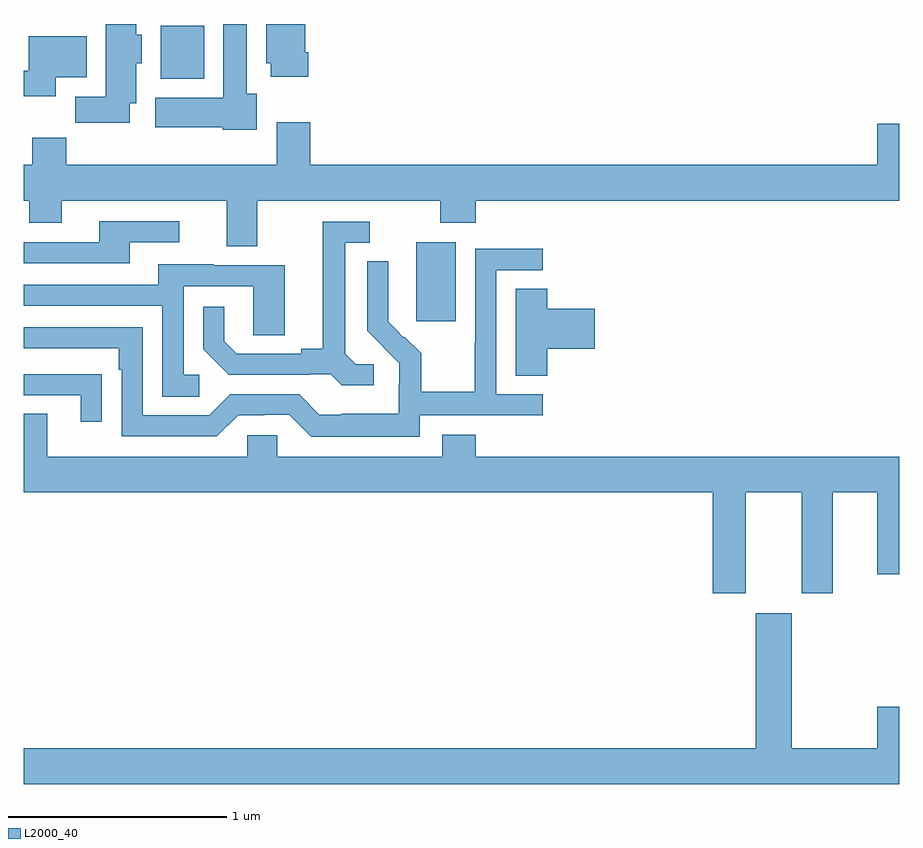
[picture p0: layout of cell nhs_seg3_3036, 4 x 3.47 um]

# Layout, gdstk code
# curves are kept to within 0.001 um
import gdstk
lib = gdstk.Library(unit=1e-6, precision=1e-09)
def R(c, l, rs):  # rectangles x0, y0, x1, y1
    for r in rs: c.add(gdstk.rectangle(r[:2], r[2:], *l))
def P(c, l, *ps):  # polygons
    for p in ps: c.add(gdstk.Polygon(p, *l))
L2000_40 = (2000, 40)

nhs_seg3_3036 = lib.new_cell('nhs_seg3_3036')
R(nhs_seg3_3036, L2000_40, [(270.794,691.041,270.973,691.402), (269.627,692.15,269.824,692.392)])
P(nhs_seg3_3036, L2000_40, [(269.485,692.039),(269.515,692.039),(269.515,692.22),(269.539,692.22),(269.539,692.352),(269.515,692.352),(269.515,692.4),(269.375,692.4),(269.375,692.068),(269.236,692.068),(269.236,691.95),(269.485,691.95)],
  [(270.299,692.272),(270.286,692.272),(270.286,692.4),(270.107,692.4),(270.107,692.22),(270.128,692.22),(270.128,692.16),(270.299,692.16)],
  [(270.064,692.082),(270.019,692.082),(270.019,692.4),(269.912,692.4),(269.912,692.062),(269.6,692.062),(269.6,691.928),(269.91,691.928),(269.91,691.916),(270.064,691.916)],
  [(269.146,692.156),(269.287,692.156),(269.287,692.344),(269.024,692.344),(269.024,692.186),(269,692.186),(269,692.069),(269.146,692.069)],
  [(270.067,691.592),(270.904,691.592),(270.904,691.493),(271.064,691.493),(271.064,691.592),(273,691.592),(273,691.945),(272.9,691.945),(272.9,691.756),(270.308,691.756),(270.308,691.951),(270.155,691.951),(270.155,691.756),(269.195,691.756),(269.195,691.88),(269.039,691.88),(269.039,691.756),(269,691.756),(269,691.592),(269.026,691.592),(269.026,691.493),(269.173,691.493),(269.173,691.592),(269.927,691.592),(269.927,691.384),(270.067,691.384)],
  [(269.485,691.404),(269.71,691.404),(269.71,691.5),(269.345,691.5),(269.345,691.404),(269,691.404),(269,691.308),(269.485,691.308)],
  [(270.598,690.846),(270.516,690.846),(270.469,690.893),(270.469,691.401),(270.58,691.401),(270.58,691.497),(270.365,691.497),(270.365,690.917),(270.269,690.917),(270.269,690.894),(269.974,690.894),(269.917,690.951),(269.917,691.108),(269.82,691.108),(269.82,690.914),(269.936,690.798),(270.308,690.798),(270.308,690.801),(270.402,690.801),(270.454,690.749),(270.598,690.749)],
  [(270.81,690.612),(271.372,690.612),(271.372,690.708),(271.158,690.708),(271.158,691.275),(271.372,691.275),(271.372,691.374),(271.062,691.374),(271.062,690.944),(271.06,690.944),(271.06,690.721),(270.815,690.721),(270.815,690.895),(270.738,690.972),(270.735,690.969),(270.665,691.04),(270.666,691.316),(270.57,691.316),(270.57,690.998),(270.716,690.85),(270.716,690.753),(270.714,690.753),(270.714,690.619),(270.451,690.619),(270.451,690.615),(270.351,690.615),(270.258,690.708),(269.943,690.708),(269.847,690.612),(269.544,690.612),(269.544,691.014),(269,691.014),(269,690.918),(269.435,690.918),(269.435,690.821),(269.448,690.821),(269.448,690.516),(269.883,690.516),(269.979,690.612),(270.098,690.612),(270.098,690.615),(270.213,690.615),(270.313,690.515),(270.81,690.515)],
  [(269.803,690.798),(269.73,690.798),(269.73,691.203),(270.048,691.203),(270.048,690.979),(270.193,690.979),(270.193,691.299),(269.869,691.299),(269.869,691.303),(269.615,691.303),(269.615,691.209),(269,691.209),(269,691.113),(269.634,691.113),(269.634,690.697),(269.803,690.697)],
  [(271.391,690.917),(271.609,690.917),(271.609,691.1),(271.391,691.1),(271.391,691.19),(271.247,691.19),(271.247,690.793),(271.391,690.793)],
  [(269.357,690.8),(269.255,690.8),(269.255,690.801),(269,690.801),(269,690.705),(269.261,690.705),(269.261,690.582),(269.357,690.582)],
  [(272.299,690.26),(272.555,690.26),(272.555,689.799),(272.695,689.799),(272.695,690.26),(272.9,690.26),(272.9,689.886),(273,689.886),(273,690.424),(271.064,690.424),(271.064,690.523),(270.911,690.523),(270.911,690.424),(270.159,690.424),(270.159,690.522),(270.021,690.522),(270.021,690.424),(269.107,690.424),(269.107,690.619),(269,690.619),(269,690.26),(272.147,690.26),(272.147,689.799),(272.299,689.799)],
  [(273,689.281),(272.9,689.281),(272.9,689.092),(272.509,689.092),(272.509,689.707),(272.345,689.707),(272.345,689.092),(269,689.092),(269,688.928),(273,688.928)])

lib.write_gds('nhs_seg3_3036.gds')
